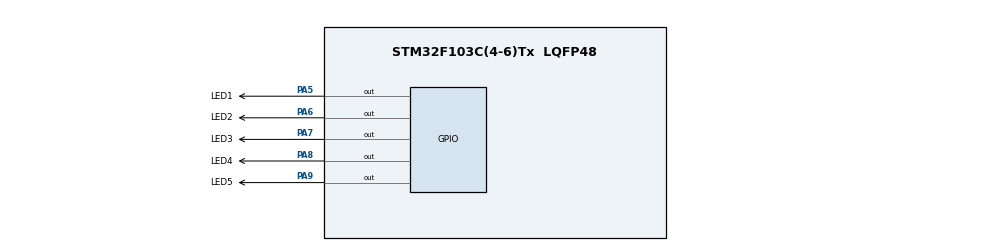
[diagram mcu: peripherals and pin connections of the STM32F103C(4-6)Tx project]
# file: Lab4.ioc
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Mcu.Family=STM32F1
Mcu.Name=STM32F103C(4-6)Tx
Mcu.Package=LQFP48
NVIC.PriorityGroup=NVIC_PRIORITYGROUP_4
PA5.GPIO_Label=LED1
PA5.Signal=GPIO_Output
PA6.GPIO_Label=LED2
PA6.Signal=GPIO_Output
PA7.GPIO_Label=LED3
PA7.Signal=GPIO_Output
PA8.GPIO_Label=LED4
PA8.Signal=GPIO_Output
PA9.GPIO_Label=LED5
PA9.Signal=GPIO_Output
ProjectManager.HeapSize=0x200
ProjectManager.StackSize=0x400
ProjectManager.TargetToolchain=STM32CubeIDE
RCC.APB1Freq_Value=8000000
RCC.APB2Freq_Value=8000000
TIM2.Period=10
TIM2.Prescaler=7999
VP_SYS_VS_ND.Mode=No_Debug
VP_TIM2_VS_ClockSourceINT.Mode=Internal
board=custom

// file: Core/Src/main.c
/* USER CODE BEGIN Header */
/**
  ******************************************************************************
  * @file           : main.c
  * @brief          : Main program body
  ******************************************************************************
  * @attention
  *
  * <h2><center>&copy; Copyright (c) 2023 STMicroelectronics.
  * All rights reserved.</center></h2>
  *
  * This software component is licensed by ST under BSD 3-Clause license,
  * the "License"; You may not use this file except in compliance with the
  * License. You may obtain a copy of the License at:
  *                        opensource.org/licenses/BSD-3-Clause
  *
  ******************************************************************************
  */
/* USER CODE END Header */
#include "main.h"
#include "Sche.h"

TIM_HandleTypeDef htim2;

void SystemClock_Config(void);
static void MX_GPIO_Init(void);
static void MX_TIM2_Init(void);

/* USER CODE BEGIN 0 */
void test_led1(){
	HAL_GPIO_TogglePin(LED1_GPIO_Port,LED1_Pin);
}
void test_led2(){
	HAL_GPIO_TogglePin(LED2_GPIO_Port,LED2_Pin);
}
void test_led3(){
	HAL_GPIO_TogglePin(LED3_GPIO_Port,LED3_Pin);
}
void test_led4(){
	HAL_GPIO_TogglePin(LED4_GPIO_Port,LED4_Pin);
}
void test_led5(){
	HAL_GPIO_TogglePin(LED5_GPIO_Port,LED5_Pin);
}
/* USER CODE END 0 */

int main(void)
{

  /* MCU Configuration--------------------------------------------------------*/

  /* Reset of all peripherals, Initializes the Flash interface and the Systick. */
  HAL_Init();

  /* Configure the system clock */
  SystemClock_Config();

  /* Initialize all configured peripherals */
  MX_GPIO_Init();
  MX_TIM2_Init();
  /* USER CODE BEGIN 2 */
  SCH_ADD_TASK(test_led1, 5, 50);
  SCH_ADD_TASK(test_led2, 10, 100);
  SCH_ADD_TASK(test_led3, 15, 150);
  SCH_ADD_TASK(test_led4, 20, 200);
  SCH_ADD_TASK(test_led5, 30, 0);

  /* USER CODE END 2 */

  /* Infinite loop */
  /* USER CODE BEGIN WHILE */
  HAL_TIM_Base_Start_IT(&htim2);
    while (1)
    {
      /* USER CODE END WHILE */
  	  SCH_DISPATCH();
    }
}

void SystemClock_Config(void)
{
  RCC_OscInitTypeDef RCC_OscInitStruct = {0};
  RCC_ClkInitTypeDef RCC_ClkInitStruct = {0};

  /** Initializes the RCC Oscillators according to the specified parameters
  * in the RCC_OscInitTypeDef structure.
  */
  RCC_OscInitStruct.OscillatorType = RCC_OSCILLATORTYPE_HSI;
  RCC_OscInitStruct.HSIState = RCC_HSI_ON;
  RCC_OscInitStruct.HSICalibrationValue = RCC_HSICALIBRATION_DEFAULT;
  RCC_OscInitStruct.PLL.PLLState = RCC_PLL_NONE;
  if (HAL_RCC_OscConfig(&RCC_OscInitStruct) != HAL_OK)
  {
    Error_Handler();
  }
  /** Initializes the CPU, AHB and APB buses clocks
  */
  RCC_ClkInitStruct.ClockType = RCC_CLOCKTYPE_HCLK|RCC_CLOCKTYPE_SYSCLK
                              |RCC_CLOCKTYPE_PCLK1|RCC_CLOCKTYPE_PCLK2;
  RCC_ClkInitStruct.SYSCLKSource = RCC_SYSCLKSOURCE_HSI;
  RCC_ClkInitStruct.AHBCLKDivider = RCC_SYSCLK_DIV1;
  RCC_ClkInitStruct.APB1CLKDivider = RCC_HCLK_DIV1;
  RCC_ClkInitStruct.APB2CLKDivider = RCC_HCLK_DIV1;

  if (HAL_RCC_ClockConfig(&RCC_ClkInitStruct, FLASH_LATENCY_0) != HAL_OK)
  {
    Error_Handler();
  }
}

static void MX_TIM2_Init(void)
{

  TIM_ClockConfigTypeDef sClockSourceConfig = {0};
  TIM_MasterConfigTypeDef sMasterConfig = {0};

  htim2.Instance = TIM2;
  htim2.Init.Prescaler = 7999;
  htim2.Init.CounterMode = TIM_COUNTERMODE_UP;
  htim2.Init.Period = 10;
  htim2.Init.ClockDivision = TIM_CLOCKDIVISION_DIV1;
  htim2.Init.AutoReloadPreload = TIM_AUTORELOAD_PRELOAD_DISABLE;
  if (HAL_TIM_Base_Init(&htim2) != HAL_OK)
  {
    Error_Handler();
  }
  sClockSourceConfig.ClockSource = TIM_CLOCKSOURCE_INTERNAL;
  if (HAL_TIM_ConfigClockSource(&htim2, &sClockSourceConfig) != HAL_OK)
  {
    Error_Handler();
  }
  sMasterConfig.MasterOutputTrigger = TIM_TRGO_RESET;
  sMasterConfig.MasterSlaveMode = TIM_MASTERSLAVEMODE_DISABLE;
  if (HAL_TIMEx_MasterConfigSynchronization(&htim2, &sMasterConfig) != HAL_OK)
  {
    Error_Handler();
  }

}

static void MX_GPIO_Init(void)
{
  GPIO_InitTypeDef GPIO_InitStruct = {0};

  /* GPIO Ports Clock Enable */
  __HAL_RCC_GPIOA_CLK_ENABLE();

  /*Configure GPIO pin Output Level */
  HAL_GPIO_WritePin(GPIOA, LED1_Pin|LED2_Pin|LED3_Pin|LED4_Pin
                          |LED5_Pin, GPIO_PIN_RESET);

  /*Configure GPIO pins : LED1_Pin LED2_Pin LED3_Pin LED4_Pin
                           LED5_Pin */
  GPIO_InitStruct.Pin = LED1_Pin|LED2_Pin|LED3_Pin|LED4_Pin
                          |LED5_Pin;
  GPIO_InitStruct.Mode = GPIO_MODE_OUTPUT_PP;
  GPIO_InitStruct.Pull = GPIO_NOPULL;
  GPIO_InitStruct.Speed = GPIO_SPEED_FREQ_LOW;
  HAL_GPIO_Init(GPIOA, &GPIO_InitStruct);

}

/* USER CODE BEGIN 4 */
void HAL_TIM_PeriodElapsedCallback(TIM_HandleTypeDef*htim){
	SCH_UPDATE();
	timeRun();
}
/* USER CODE END 4 */

void Error_Handler(void)
{
  __disable_irq();
  while (1)
  {
  }
}

/************************ (C) COPYRIGHT STMicroelectronics *****END OF FILE****/
